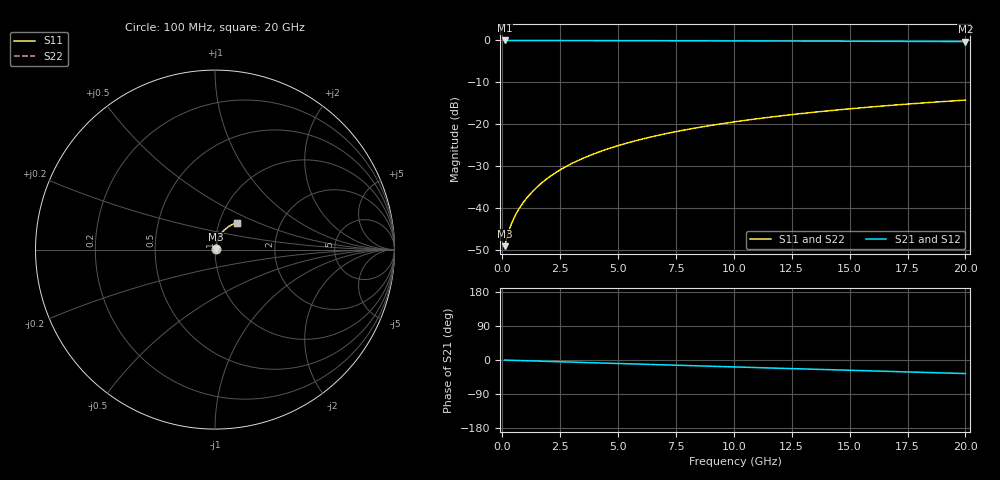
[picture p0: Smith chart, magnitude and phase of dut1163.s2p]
! Touchstone file exported from HFSS 2026.1.0
!  File:  C:/ffzhzh/LocalFiles/Ansys_Project_Files/temp_train_TMRDL_1163_1783162326_18472.aedt
!  Generated:  06:53:22 PM Jul  4, 2026
!  Design:  TMRDL
!  Project:  temp_train_TMRDL_1163_1783162326_18472
! Variables:
!  h_bsmrdl = 2um
!  h_ox = 20um
!  h_rdl = 5um
!  h_sub = 80um
!  h_tmrdl = 3um
!  h_tsv = 80um
!  h_via = 3um
!  l_bsmrdl = 300um
!  l_sub = 990.73um
!  l_tmrdl = 590.73um
!  m_sub = 200um
!  pitch = 34.14um
!  r_tsv = 6um
!  s_tmrdl = 10um
!  w_bsmrdl = 18um
!  w_sub = 500um
!  w_tmrdl = 23.51um
!  x_tsv_center1 = 602.485um
!  x_tsv_center2 = 920.485um
!  x_tsv_center3 = 1534.725um
!  x_tsv_center4 = 1852.725um
!  x_tsv_center5 = 2466.965um
!  x_tsv_center6 = 2784.965um
# GHz S MA R 50.000000
! Terminal data exported
! Port[1] = TM_RDL1_1_T1
! Port[2] = TM_RDL1_1_T2
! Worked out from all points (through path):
!   200 points, 100 MHz to 20 GHz, reference 50 ohm
!   highest |S21| = -0.03 dB at 100 MHz (marker M1); lowest = -0.3 dB at 20 GHz (marker M2)
!   group delay of S21, straight-line fit = 4.97 ps
!   lowest |S11| = -49.0 dB at 100 MHz (marker M3), VSWR 1.01, Z = 50.3 + j0.149 ohm
!   |S11| at or under -10 dB: start of sweep to end of sweep
!   |S22| runs from -49.0 to -14.2 dB; largest |S21 - S12| = 5.2e-15
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0.1  0.003559 24.5  0.9968 -0.2  0.9968 -0.2  0.003559 24.5
! Gamma 0 0 0 0
! Port Impedance 50 0 50 0
0.3  0.005557 47.9  0.9963 -0.6  0.9963 -0.6  0.005556 47.9
0.4  0.00662 53.0  0.9961 -0.8  0.9961 -0.8  0.006619 53.0
0.5  0.007655 56.6  0.9959 -1.0  0.9959 -1.0  0.007654 56.6
0.6  0.008671 59.5  0.9957 -1.2  0.9957 -1.2  0.008671 59.5
0.8  0.01069 63.8  0.9955 -1.5  0.9955 -1.5  0.01069 63.8
1  0.01274 66.9  0.9953 -1.9  0.9953 -1.9  0.01274 66.9
1.2  0.01482 69.2  0.9952 -2.3  0.9952 -2.3  0.01482 69.2
1.4  0.01692 70.9  0.9951 -2.6  0.9951 -2.6  0.01692 70.9
1.7  0.02013 72.7  0.9949 -3.2  0.9949 -3.2  0.02013 72.7
2.2  0.02553 74.4  0.9946 -4.1  0.9946 -4.1  0.02553 74.4
2.8  0.03207 75.3  0.9942 -5.2  0.9942 -5.2  0.03207 75.3
3.5  0.03969 75.4  0.9936 -6.5  0.9936 -6.5  0.03969 75.4
4.2  0.04728 75.0  0.993 -7.8  0.993 -7.8  0.04728 75.1
5  0.05588 74.2  0.9921 -9.3  0.9921 -9.3  0.05587 74.3
5.9  0.06543 73.1  0.9911 -10.9  0.9911 -10.9  0.06542 73.2
6.8  0.07483 71.8  0.9899 -12.5  0.9899 -12.5  0.07482 71.9
8.3  0.09016 69.5  0.9877 -15.2  0.9877 -15.2  0.09015 69.6
10.1  0.108 66.6  0.9849 -18.5  0.9849 -18.5  0.108 66.7
13.4  0.139 61.2  0.9794 -24.3  0.9794 -24.3  0.139 61.3
16.7  0.1679 55.7  0.9736 -30.1  0.9736 -30.1  0.1678 55.9
20  0.1945 50.3  0.9677 -35.8  0.9677 -35.8  0.1945 50.5
